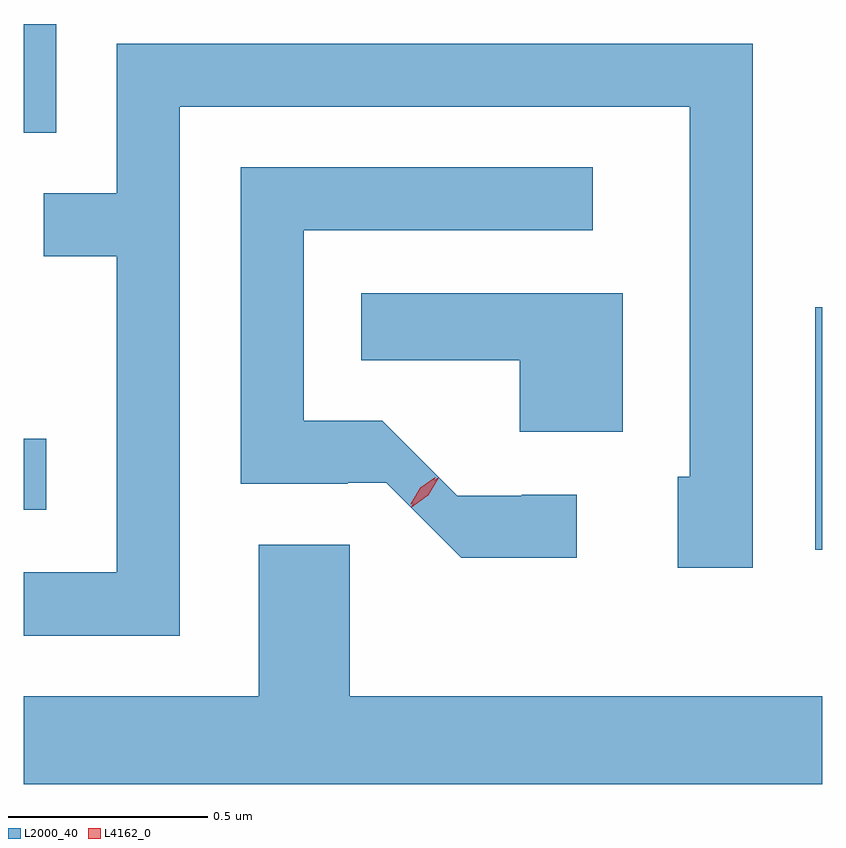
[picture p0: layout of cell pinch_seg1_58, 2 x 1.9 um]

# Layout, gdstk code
import gdstk
lib = gdstk.Library(unit=1e-6, precision=1e-09)
def R(c, l, rs):  # rectangles x0, y0, x1, y1
    for r in rs: c.add(gdstk.rectangle(r[:2], r[2:], *l))
def P(c, l, *ps):  # polygons
    for p in ps: c.add(gdstk.Polygon(p, *l))
L2000_40 = (2000, 40)
L4162_0 = (4162, 0)

pinch_seg1_58 = lib.new_cell('pinch_seg1_58')
R(pinch_seg1_58, L2000_40, [(1396.306,869.131,1396.323,869.738), (1394.323,869.231,1394.379,869.409), (1394.323,870.176,1394.404,870.448)])
P(pinch_seg1_58, L2000_40, [(1394.714,870.241),(1395.991,870.241),(1395.991,869.314),(1395.961,869.314),(1395.961,869.086),(1396.149,869.086),(1396.149,870.399),(1394.556,870.399),(1394.556,870.024),(1394.373,870.024),(1394.373,869.866),(1394.556,869.866),(1394.556,869.074),(1394.323,869.074),(1394.323,868.916),(1394.714,868.916)],
  [(1395.708,869.269),(1395.57,869.269),(1395.57,869.266),(1395.409,869.266),(1395.221,869.454),(1395.024,869.454),(1395.024,869.931),(1395.748,869.931),(1395.748,870.089),(1394.866,870.089),(1394.866,869.296),(1395.135,869.296),(1395.135,869.299),(1395.231,869.299),(1395.419,869.111),(1395.708,869.111)],
  [(1395.824,869.774),(1395.168,869.774),(1395.168,869.606),(1395.566,869.606),(1395.566,869.426),(1395.824,869.426)],
  [(1396.323,868.764),(1395.139,868.764),(1395.139,869.144),(1394.911,869.144),(1394.911,868.764),(1394.323,868.764),(1394.323,868.544),(1396.323,868.544)])
P(pinch_seg1_58, L4162_0, [(1395.294,869.237),(1395.294,869.238),(1395.321,869.281),(1395.362,869.312),(1395.362,869.312),(1395.362,869.311),(1395.336,869.268),(1395.295,869.237)],
  [(1395.292,869.245),(1395.292,869.246),(1395.316,869.286),(1395.354,869.312),(1395.354,869.312),(1395.354,869.311),(1395.331,869.272),(1395.293,869.245)])

lib.write_gds('pinch_seg1_58.gds')
